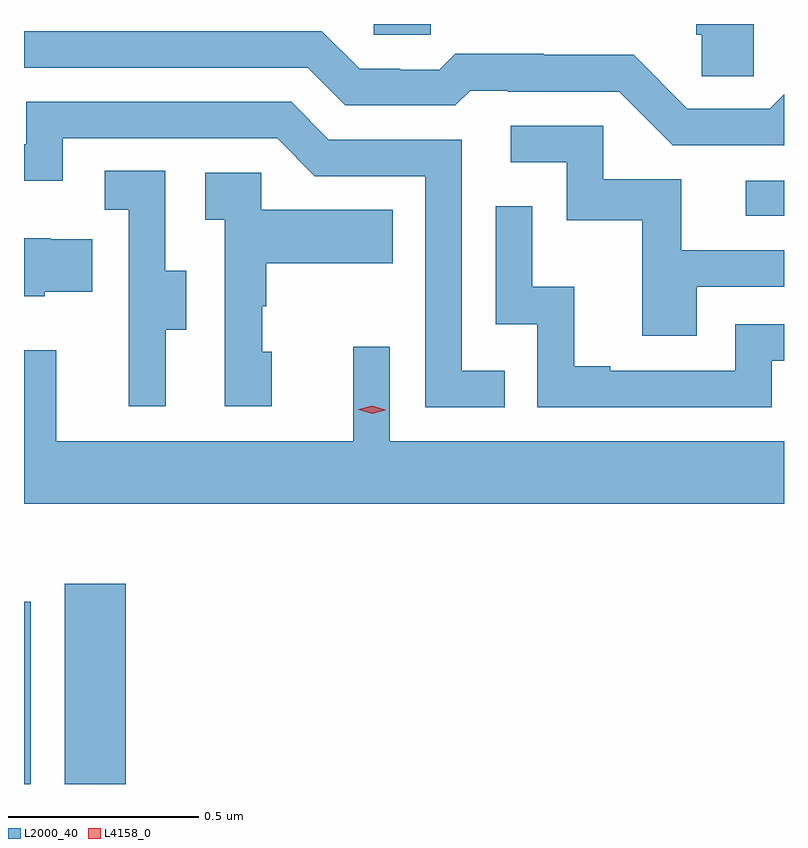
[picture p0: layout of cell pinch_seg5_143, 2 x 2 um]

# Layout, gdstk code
import gdstk
lib = gdstk.Library(unit=1e-6, precision=1e-09)
def R(c, l, rs):  # rectangles x0, y0, x1, y1
    for r in rs: c.add(gdstk.rectangle(r[:2], r[2:], *l))
def P(c, l, *ps):  # polygons
    for p in ps: c.add(gdstk.Polygon(p, *l))
L2000_40 = (2000, 40)
L4158_0 = (4158, 0)

pinch_seg5_143 = lib.new_cell('pinch_seg5_143')
R(pinch_seg5_143, L2000_40, [(1047.228,893.318,1047.246,893.798), (1047.335,893.318,1047.496,893.845), (1049.127,894.813,1049.228,894.906), (1048.149,895.29,1048.299,895.318)])
P(pinch_seg5_143, L2000_40, [(1049.148,895.318),(1048.997,895.318),(1048.997,895.29),(1049.011,895.29),(1049.011,895.18),(1049.148,895.18)],
  [(1049.228,895.133),(1049.19,895.095),(1048.974,895.095),(1048.832,895.237),(1048.596,895.237),(1048.596,895.24),(1048.363,895.24),(1048.321,895.197),(1048.218,895.197),(1048.218,895.2),(1048.111,895.2),(1048.012,895.299),(1047.228,895.299),(1047.228,895.203),(1047.975,895.203),(1048.074,895.104),(1048.363,895.104),(1048.402,895.143),(1048.501,895.143),(1048.501,895.14),(1048.794,895.14),(1048.935,894.999),(1049.228,894.999)],
  [(1048.493,894.405),(1048.38,894.405),(1048.38,895.014),(1048.03,895.014),(1047.931,895.113),(1047.234,895.113),(1047.234,895.002),(1047.228,895.002),(1047.228,894.905),(1047.33,894.905),(1047.33,895.017),(1047.894,895.017),(1047.993,894.918),(1048.284,894.918),(1048.284,894.309),(1048.493,894.309)],
  [(1048.999,894.627),(1049.228,894.627),(1049.228,894.723),(1048.957,894.723),(1048.957,894.909),(1048.752,894.909),(1048.752,895.05),(1048.509,895.05),(1048.509,894.954),(1048.656,894.954),(1048.656,894.801),(1048.855,894.801),(1048.855,894.498),(1048.999,894.498)],
  [(1047.601,894.514),(1047.655,894.514),(1047.655,894.669),(1047.6,894.669),(1047.6,894.932),(1047.441,894.932),(1047.441,894.829),(1047.504,894.829),(1047.504,894.525),(1047.503,894.525),(1047.503,894.312),(1047.601,894.312)],
  [(1047.88,894.456),(1047.855,894.456),(1047.855,894.575),(1047.865,894.575),(1047.865,894.689),(1048.199,894.689),(1048.199,894.829),(1047.852,894.829),(1047.852,894.927),(1047.705,894.927),(1047.705,894.803),(1047.756,894.803),(1047.756,894.312),(1047.88,894.312)],
  [(1049.196,894.432),(1049.228,894.432),(1049.228,894.528),(1049.1,894.528),(1049.1,894.405),(1048.771,894.405),(1048.771,894.418),(1048.676,894.418),(1048.676,894.626),(1048.566,894.626),(1048.566,894.838),(1048.47,894.838),(1048.47,894.528),(1048.578,894.528),(1048.578,894.309),(1049.196,894.309)],
  [(1047.282,894.614),(1047.407,894.614),(1047.407,894.751),(1047.299,894.751),(1047.299,894.754),(1047.228,894.754),(1047.228,894.602),(1047.282,894.602)],
  [(1049.228,894.22),(1048.191,894.22),(1048.191,894.469),(1048.094,894.469),(1048.094,894.22),(1047.313,894.22),(1047.313,894.46),(1047.228,894.46),(1047.228,894.056),(1049.228,894.056)])
P(pinch_seg5_143, L4158_0, [(1048.144,894.293),(1048.109,894.303),(1048.108,894.304),(1048.109,894.304),(1048.144,894.313),(1048.179,894.303),(1048.179,894.303),(1048.179,894.302)])

lib.write_gds('pinch_seg5_143.gds')
